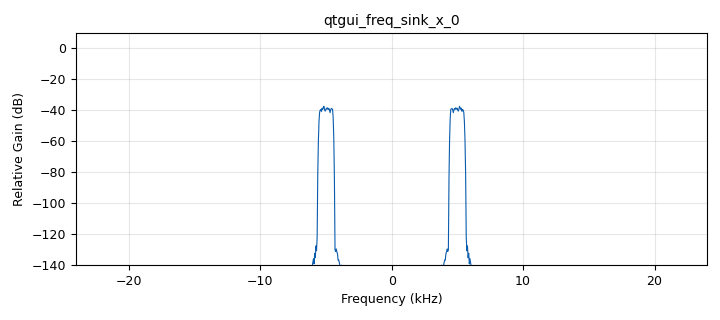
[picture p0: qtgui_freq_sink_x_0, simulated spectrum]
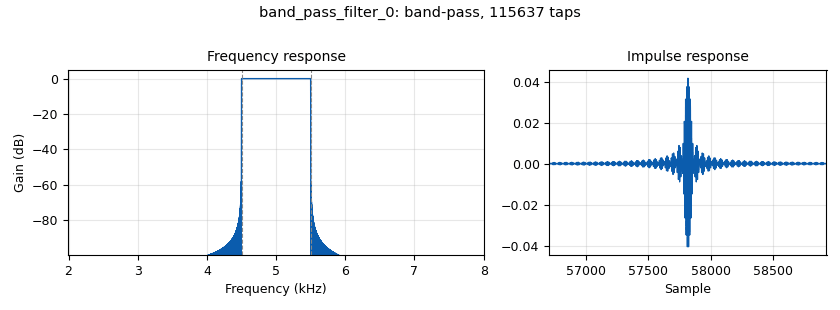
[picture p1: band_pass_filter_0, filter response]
options:
  parameters:
    generate_options: qt_gui
    id: ex1_11
    output_language: python
    title: Figure 1.17 Characterizing a (real) bandpass ﬁlter and playing its output on the sound card
  states: {}

blocks:
- name: b
  id: variable_qtgui_range
  parameters:
    comment: bandwidth
    start: '0'
    step: '1'
    stop: '10000'
    value: '1000'
  states: {}
- name: f
  id: variable_qtgui_range
  parameters:
    comment: center frequency
    start: '0'
    step: '1'
    stop: '10000'
    value: '5000'
  states: {}
- name: samp_rate
  id: variable
  parameters:
    comment: |-
      select a sampling rate
      compatible with the sound card
    value: '48000'
  states: {}
- name: analog_noise_source_x_0
  id: analog_noise_source_x
  parameters:
    amp: '1'
    noise_type: analog.GR_GAUSSIAN
    seed: '0'
    type: float
  states: {}
- name: audio_sink_0
  id: audio_sink
  parameters:
    comment: |-
      NO THROTTLE since a 
      sound card clock defines time
    samp_rate: samp_rate
  states: {}
- name: band_pass_filter_0
  id: band_pass_filter
  parameters:
    decim: '1'
    gain: '1'
    high_cutoff_freq: f+b/2
    low_cutoff_freq: f-b/2
    samp_rate: samp_rate
    type: fir_filter_fff
    width: '1'
    win: window.WIN_HAMMING
  states: {}
- name: qtgui_freq_sink_x_0
  id: qtgui_freq_sink_x
  parameters:
    average: '0.2'
    bw: samp_rate
    fc: '0'
    fftsize: '1024'
    type: float
  states: {}

connections:
- [analog_noise_source_x_0, '0', band_pass_filter_0, '0']
- [band_pass_filter_0, '0', audio_sink_0, '0']
- [band_pass_filter_0, '0', qtgui_freq_sink_x_0, '0']

metadata:
  file_format: 1
  grc_version: 3.10.9.2
